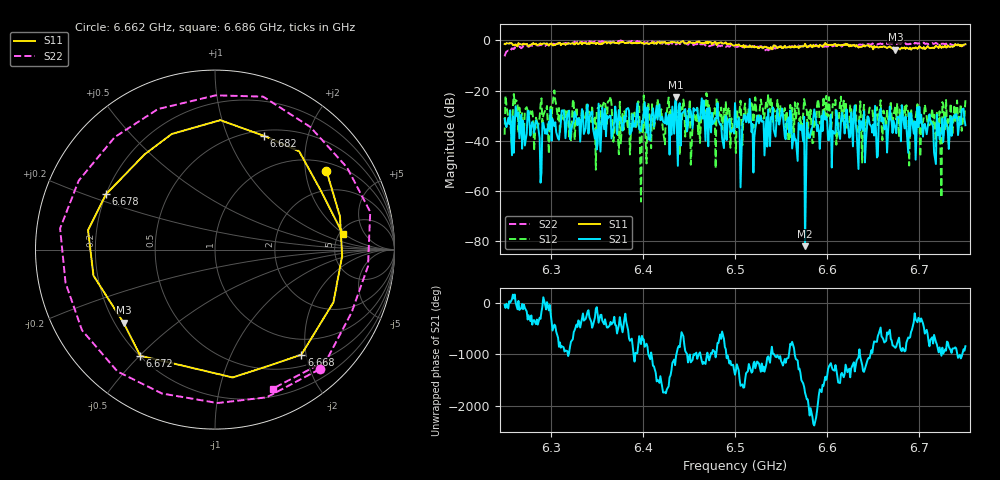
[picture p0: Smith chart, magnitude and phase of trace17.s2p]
# Hz S RI R 50
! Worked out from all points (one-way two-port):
!   401 points, 6.25 GHz to 6.75 GHz, reference 50 ohm
!   highest |S21| = -22.70 dB at 6.436 GHz (marker M1); lowest = -81.9 dB at 6.576 GHz (marker M2)
!   lowest |S11| = -3.7 dB at 6.674 GHz (marker M3), VSWR 4.75, Z = 11.7 - j16.7 ohm
!   |S11| at or under -10 dB: nowhere
!   |S22| runs from -6.4 to 0.0 dB; largest |S21 - S12| = 0.12
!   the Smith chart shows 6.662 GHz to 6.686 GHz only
!   S11 on the Smith chart (normalised r, x): 6.662 GHz: 1.25, +2.61; 6.668 GHz: 0.70, -1.91; 6.672 GHz: 0.20, -0.50; 6.678 GHz: 0.20, +0.23; 6.682 GHz: 0.56, +1.36; 6.686 GHz: 5.31, +1.96
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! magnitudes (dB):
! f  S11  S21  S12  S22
! 6.25 GHz  -1.4  -31.2  -37.5  -6.4
! 6.261 GHz  -1.8  -32.8  -25.2  -2.8
! 6.284 GHz  -1.3  -31.9  -30.8  -1.9
! 6.289 GHz  -1.3  -56.6  -25.7  -1.8
! 6.334 GHz  -1.5  -27.3  -27.0  -0.6
! 6.364 GHz  -0.8  -30.0  -23.8  -0.6
! 6.4 GHz  -1.0  -32.8  -37.2  -0.8
! 6.418 GHz  -0.9  -25.5  -29.8  -0.5
! 6.436 GHz  -0.9  -22.7  -31.5  -1.6
! 6.482 GHz  -1.0  -31.9  -27.9  -2.0
! 6.5 GHz  -2.1  -24.9  -35.8  -2.5
! 6.549 GHz  -2.7  -31.3  -25.9  -2.4
! 6.576 GHz  -1.4  -81.9  -25.4  -2.3
! 6.584 GHz  -2.8  -34.3  -40.9  -2.7
! 6.662 GHz  -2.4  -35.4  -29.4  -1.1
! 6.668 GHz  -2.4  -26.4  -31.5  -1.2
! 6.672 GHz  -2.8  -31.9  -30.0  -1.4
! 6.674 GHz  -3.7  -35.0  -26.1  -1.5
! 6.678 GHz  -3.3  -30.7  -38.4  -1.0
! 6.682 GHz  -3.2  -30.0  -30.0  -1.3
! 6.686 GHz  -2.9  -34.7  -25.8  -1.5
! 6.75 GHz  -1.6  -33.8  -23.8  -2.1
